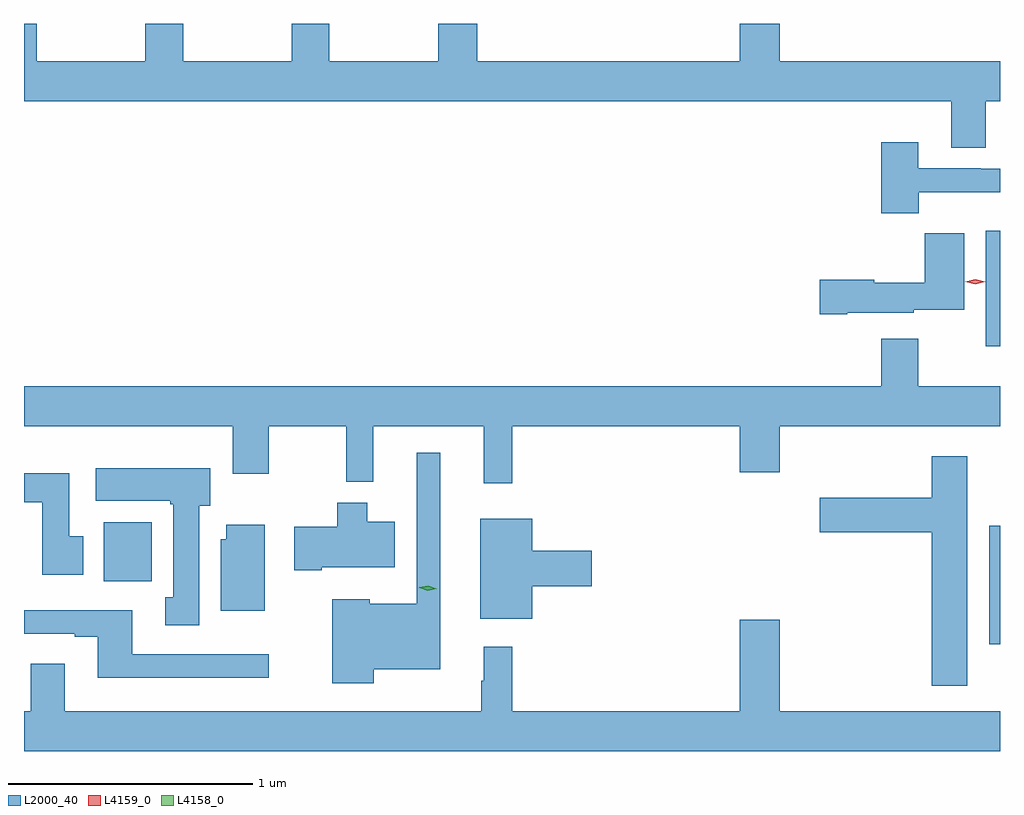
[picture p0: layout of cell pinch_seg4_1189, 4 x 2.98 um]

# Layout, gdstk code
import gdstk
lib = gdstk.Library(unit=1e-6, precision=1e-09)
def R(c, l, rs):  # rectangles x0, y0, x1, y1
    for r in rs: c.add(gdstk.rectangle(r[:2], r[2:], *l))
def P(c, l, *ps):  # polygons
    for p in ps: c.add(gdstk.Polygon(p, *l))
L2000_40 = (2000, 40)
L4158_0 = (4158, 0)
L4159_0 = (4159, 0)

pinch_seg4_1189 = lib.new_cell('pinch_seg4_1189')
R(pinch_seg4_1189, L2000_40, [(333.861,799.923,333.906,800.407), (330.233,800.18,330.43,800.422), (333.848,801.144,333.906,801.616)])
P(pinch_seg4_1189, L2000_40, [(333.847,802.148),(333.906,802.148),(333.906,802.312),(333.004,802.312),(333.004,802.465),(332.84,802.465),(332.84,802.312),(331.763,802.312),(331.763,802.465),(331.603,802.465),(331.603,802.312),(331.158,802.312),(331.158,802.465),(331.003,802.465),(331.003,802.312),(330.558,802.312),(330.558,802.465),(330.403,802.465),(330.403,802.312),(329.958,802.312),(329.958,802.465),(329.906,802.465),(329.906,802.148),(333.707,802.148),(333.707,801.958),(333.847,801.958)],
  [(333.574,801.774),(333.906,801.774),(333.906,801.87),(333.827,801.87),(333.827,801.873),(333.571,801.873),(333.571,801.979),(333.419,801.979),(333.419,801.689),(333.574,801.689)],
  [(333.28,801.281),(333.552,801.281),(333.552,801.293),(333.76,801.293),(333.76,801.607),(333.598,801.607),(333.598,801.403),(333.39,801.403),(333.39,801.416),(333.168,801.416),(333.168,801.274),(333.28,801.274)],
  [(333.906,800.98),(333.571,800.98),(333.571,801.175),(333.419,801.175),(333.419,800.98),(329.906,800.98),(329.906,800.816),(330.761,800.816),(330.761,800.622),(330.909,800.622),(330.909,800.816),(331.227,800.816),(331.227,800.588),(331.337,800.588),(331.337,800.816),(331.79,800.816),(331.79,800.583),(331.907,800.583),(331.907,800.816),(332.84,800.816),(332.84,800.628),(333.004,800.628),(333.004,800.816),(333.906,800.816)],
  [(331.339,799.82),(331.612,799.82),(331.612,800.707),(331.515,800.707),(331.515,800.089),(331.323,800.089),(331.323,800.107),(331.169,800.107),(331.169,799.763),(331.339,799.763)],
  [(333.772,800.692),(333.626,800.692),(333.626,800.523),(333.168,800.523),(333.168,800.381),(333.626,800.381),(333.626,799.752),(333.772,799.752)],
  [(330.625,800.49),(330.67,800.49),(330.67,800.644),(330.201,800.644),(330.201,800.51),(330.505,800.51),(330.505,800.497),(330.518,800.497),(330.518,800.114),(330.485,800.114),(330.485,800.001),(330.625,800.001)],
  [(330.148,800.364),(330.091,800.364),(330.091,800.623),(329.906,800.623),(329.906,800.504),(329.981,800.504),(329.981,800.208),(330.148,800.208)],
  [(331.126,800.237),(331.426,800.237),(331.426,800.425),(331.312,800.425),(331.312,800.503),(331.19,800.503),(331.19,800.403),(331.014,800.403),(331.014,800.225),(331.126,800.225)],
  [(331.99,800.159),(332.233,800.159),(332.233,800.306),(331.99,800.306),(331.99,800.437),(331.775,800.437),(331.775,800.027),(331.99,800.027)],
  [(330.892,800.413),(330.734,800.413),(330.734,800.352),(330.713,800.352),(330.713,800.06),(330.892,800.06)],
  [(330.91,799.881),(330.349,799.881),(330.349,800.062),(329.906,800.062),(329.906,799.965),(330.113,799.965),(330.113,799.953),(330.209,799.953),(330.209,799.784),(330.91,799.784)],
  [(332.84,800.023),(332.84,799.648),(331.907,799.648),(331.907,799.912),(331.79,799.912),(331.79,799.772),(331.779,799.772),(331.779,799.648),(330.073,799.648),(330.073,799.843),(329.933,799.843),(329.933,799.648),(329.906,799.648),(329.906,799.484),(333.906,799.484),(333.906,799.648),(333.004,799.648),(333.004,800.023)])
P(pinch_seg4_1189, L4158_0, [(331.56,800.142),(331.526,800.154),(331.525,800.154),(331.526,800.155),(331.562,800.162),(331.597,800.15),(331.597,800.15),(331.597,800.149)])
P(pinch_seg4_1189, L4159_0, [(333.804,801.398),(333.764,801.407),(333.763,801.408),(333.764,801.408),(333.804,801.418),(333.846,801.408),(333.846,801.408),(333.846,801.407)])

lib.write_gds('pinch_seg4_1189.gds')
